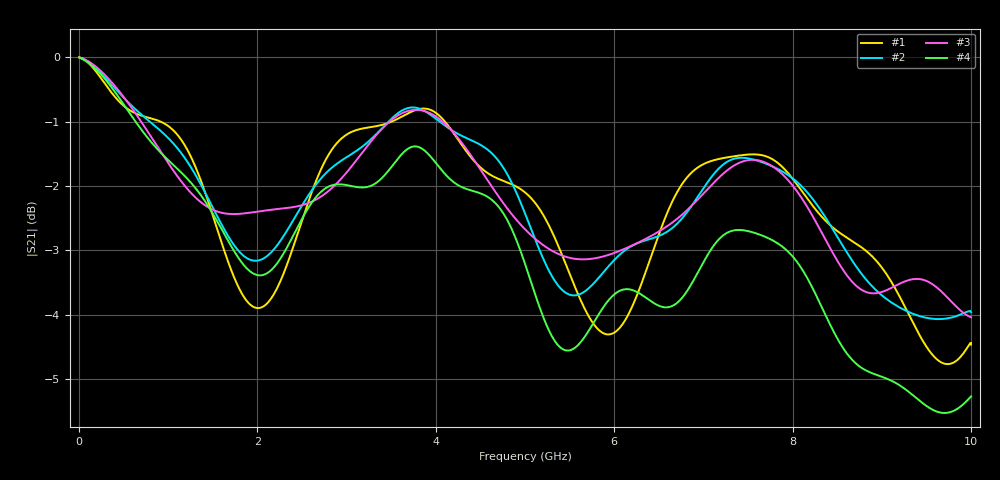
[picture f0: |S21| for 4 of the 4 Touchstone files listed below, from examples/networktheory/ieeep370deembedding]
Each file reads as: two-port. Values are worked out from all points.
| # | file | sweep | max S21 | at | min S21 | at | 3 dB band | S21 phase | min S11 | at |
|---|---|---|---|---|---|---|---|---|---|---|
| 1 | deembedded_SE_NZC_fdf.s2p | 1 MHz to 10 GHz | 0.00 dB | 1 MHz | -4.8 dB | 9.736 GHz | 2.389 GHz-5.395 GHz | 29 deg at 5.001 GHz | -55.2 dB | 1 MHz |
| 2 | deembedded_SE_NZC_se_fdf.s2p | 10 MHz to 10 GHz | -0.01 dB | 10 MHz | -4.1 dB | 9.64 GHz | 2.18 GHz-5.16 GHz | 28 deg at 5.01 GHz | -40.0 dB | 10 MHz |
| 3 | deembedded_SE_ZC_se_fdf.s2p | 10 MHz to 10 GHz | -0.01 dB | 10 MHz | -4.0 dB | 10 GHz | 10 MHz-5.3 GHz | 32 deg at 5.01 GHz | -41.2 dB | 10 MHz |
| 4 | se_fdf.s2p | 10 MHz to 10 GHz | -0.01 dB | 10 MHz | -5.5 dB | 9.7 GHz | 2.32 GHz-4.95 GHz | 14 deg at 5.01 GHz | -41.1 dB | 10 MHz |
